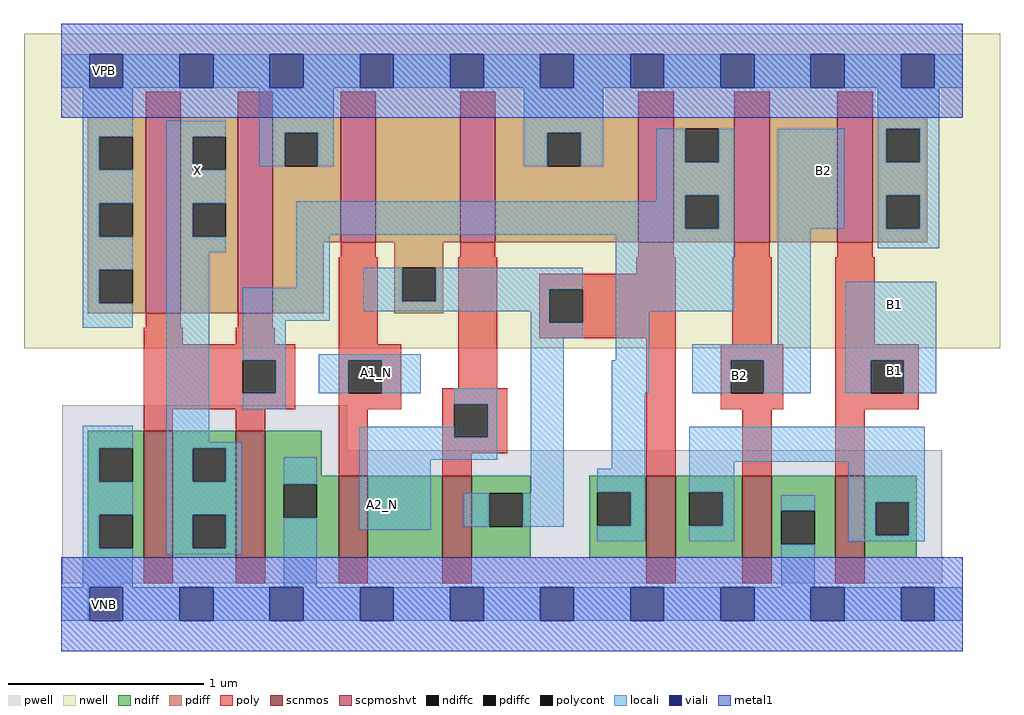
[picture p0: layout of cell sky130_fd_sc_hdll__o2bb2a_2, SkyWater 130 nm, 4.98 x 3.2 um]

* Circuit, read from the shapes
.subckt sky130_fd_sc_hdll__o2bb2a_2 A1_N A2_N B1 B2 VGND VNB VPB VPWR X
XM1 X n1 VGND VNB sky130_fd_pr__nfet_01v8 w=0.65 l=0.15 m=2
XM2 n2 A1_N VGND VNB sky130_fd_pr__nfet_01v8 w=0.42 l=0.15
XM3 n3 A2_N n2 VNB sky130_fd_pr__nfet_01v8 w=0.42 l=0.15
XM4 n4 n3 n1 VNB sky130_fd_pr__nfet_01v8 w=0.42 l=0.15
XM5 VGND B2 n4 VNB sky130_fd_pr__nfet_01v8 w=0.42 l=0.15
XM6 n4 B1 VGND VNB sky130_fd_pr__nfet_01v8 w=0.42 l=0.15
XM7 X n1 VPWR VPB sky130_fd_pr__pfet_01v8_hvt w=1 l=0.18 m=2
XM8 n3 A1_N VPWR VPB sky130_fd_pr__pfet_01v8_hvt w=0.64 l=0.18
XM9 VPWR A2_N n3 VPB sky130_fd_pr__pfet_01v8_hvt w=0.64 l=0.18
XM10 n1 n3 VPWR VPB sky130_fd_pr__pfet_01v8_hvt w=0.64 l=0.18
XM11 n5 B2 n1 VPB sky130_fd_pr__pfet_01v8_hvt w=0.64 l=0.18
XM12 VPWR B1 n5 VPB sky130_fd_pr__pfet_01v8_hvt w=0.64 l=0.18
.ends

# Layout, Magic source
magic
tech sky130A
magscale 1 2
<< nwell >>
rect -38 261 958 582
<< pwell >>
rect 1 157 292 203
rect 1 21 899 157
rect 27 -17 61 21
<< scnmos >>
rect 84 47 114 177
rect 178 47 208 177
rect 283 47 313 131
rect 389 47 419 131
rect 597 47 627 131
rect 695 47 725 131
rect 790 47 820 131
<< scpmoshvt >>
rect 86 297 122 497
rect 180 297 216 497
rect 285 369 321 497
rect 407 369 443 497
rect 589 369 625 497
rect 687 369 723 497
rect 792 369 828 497
<< ndiff >>
rect 27 159 84 177
rect 27 125 39 159
rect 73 125 84 159
rect 27 91 84 125
rect 27 57 39 91
rect 73 57 84 91
rect 27 47 84 57
rect 114 159 178 177
rect 114 125 134 159
rect 168 125 178 159
rect 114 91 178 125
rect 114 57 134 91
rect 168 57 178 91
rect 114 47 178 57
rect 208 131 266 177
rect 208 122 283 131
rect 208 88 227 122
rect 261 88 283 122
rect 208 47 283 88
rect 313 47 389 131
rect 419 113 479 131
rect 419 79 437 113
rect 471 79 479 113
rect 419 47 479 79
rect 539 114 597 131
rect 539 80 547 114
rect 581 80 597 114
rect 539 47 597 80
rect 627 114 695 131
rect 627 80 641 114
rect 675 80 695 114
rect 627 47 695 80
rect 725 95 790 131
rect 725 61 735 95
rect 769 61 790 95
rect 725 47 790 61
rect 820 104 873 131
rect 820 70 831 104
rect 865 70 873 104
rect 820 47 873 70
<< pdiff >>
rect 27 477 86 497
rect 27 443 39 477
rect 73 443 86 477
rect 27 409 86 443
rect 27 375 39 409
rect 73 375 86 409
rect 27 341 86 375
rect 27 307 39 341
rect 73 307 86 341
rect 27 297 86 307
rect 122 477 180 497
rect 122 443 134 477
rect 168 443 180 477
rect 122 409 180 443
rect 122 375 134 409
rect 168 375 180 409
rect 122 297 180 375
rect 216 481 285 497
rect 216 447 228 481
rect 262 447 285 481
rect 216 369 285 447
rect 321 369 407 497
rect 443 481 589 497
rect 443 447 496 481
rect 530 447 589 481
rect 443 369 589 447
rect 625 485 687 497
rect 625 451 637 485
rect 671 451 687 485
rect 625 417 687 451
rect 625 383 637 417
rect 671 383 687 417
rect 625 369 687 383
rect 723 369 792 497
rect 828 485 884 497
rect 828 451 842 485
rect 876 451 884 485
rect 828 417 884 451
rect 828 383 842 417
rect 876 383 884 417
rect 828 369 884 383
rect 216 297 268 369
rect 340 343 390 369
rect 340 309 348 343
rect 382 309 390 343
rect 340 297 390 309
<< ndiffc >>
rect 39 125 73 159
rect 39 57 73 91
rect 134 125 168 159
rect 134 57 168 91
rect 227 88 261 122
rect 437 79 471 113
rect 547 80 581 114
rect 641 80 675 114
rect 735 61 769 95
rect 831 70 865 104
<< pdiffc >>
rect 39 443 73 477
rect 39 375 73 409
rect 39 307 73 341
rect 134 443 168 477
rect 134 375 168 409
rect 228 447 262 481
rect 496 447 530 481
rect 637 451 671 485
rect 637 383 671 417
rect 842 451 876 485
rect 842 383 876 417
rect 348 309 382 343
<< poly >>
rect 86 497 122 523
rect 180 497 216 523
rect 285 497 321 523
rect 407 497 443 523
rect 589 497 625 523
rect 687 497 723 523
rect 792 497 828 523
rect 285 354 321 369
rect 86 282 122 297
rect 180 282 216 297
rect 84 265 124 282
rect 178 265 218 282
rect 283 265 323 354
rect 407 354 443 369
rect 589 354 625 369
rect 687 354 723 369
rect 792 354 828 369
rect 84 249 239 265
rect 84 215 185 249
rect 219 215 239 249
rect 84 199 239 215
rect 283 249 347 265
rect 283 215 293 249
rect 327 215 347 249
rect 405 220 445 354
rect 587 337 627 354
rect 488 321 627 337
rect 488 287 498 321
rect 532 287 627 321
rect 488 271 627 287
rect 283 199 347 215
rect 389 204 455 220
rect 84 177 114 199
rect 178 177 208 199
rect 283 131 313 199
rect 389 170 401 204
rect 435 170 455 204
rect 389 154 455 170
rect 389 131 419 154
rect 597 131 627 271
rect 685 265 725 354
rect 790 265 830 354
rect 673 249 737 265
rect 673 215 683 249
rect 717 215 737 249
rect 673 199 737 215
rect 790 249 875 265
rect 790 215 826 249
rect 860 215 875 249
rect 790 199 875 215
rect 695 131 725 199
rect 790 131 820 199
rect 84 21 114 47
rect 178 21 208 47
rect 283 21 313 47
rect 389 21 419 47
rect 597 21 627 47
rect 695 21 725 47
rect 790 21 820 47
<< polycont >>
rect 185 215 219 249
rect 293 215 327 249
rect 498 287 532 321
rect 401 170 435 204
rect 683 215 717 249
rect 826 215 860 249
<< locali >>
rect 0 527 29 561
rect 63 527 121 561
rect 155 527 213 561
rect 247 527 305 561
rect 339 527 397 561
rect 431 527 489 561
rect 523 527 581 561
rect 615 527 673 561
rect 707 527 765 561
rect 799 527 857 561
rect 891 527 920 561
rect 22 477 73 527
rect 22 443 39 477
rect 22 409 73 443
rect 22 375 39 409
rect 22 341 73 375
rect 22 307 39 341
rect 22 282 73 307
rect 107 477 168 493
rect 107 443 134 477
rect 202 481 278 527
rect 202 447 228 481
rect 262 447 278 481
rect 472 481 553 527
rect 833 485 896 527
rect 472 447 496 481
rect 530 447 553 481
rect 607 451 637 485
rect 671 451 687 485
rect 107 409 168 443
rect 607 417 687 451
rect 607 411 637 417
rect 107 375 134 409
rect 107 359 168 375
rect 240 383 637 411
rect 671 383 687 417
rect 240 377 687 383
rect 22 159 73 182
rect 22 125 39 159
rect 22 91 73 125
rect 22 57 39 91
rect 22 17 73 57
rect 107 165 151 359
rect 240 323 274 377
rect 185 289 274 323
rect 308 309 348 343
rect 382 321 532 343
rect 382 309 498 321
rect 308 299 498 309
rect 185 249 229 289
rect 479 287 498 299
rect 479 271 532 287
rect 566 299 687 377
rect 731 383 799 485
rect 833 451 842 485
rect 876 451 896 485
rect 833 417 896 451
rect 833 383 842 417
rect 876 383 896 417
rect 219 215 229 249
rect 263 249 367 255
rect 263 215 293 249
rect 327 215 367 249
rect 185 199 229 215
rect 401 204 445 220
rect 304 170 401 181
rect 435 170 445 204
rect 107 159 184 165
rect 107 125 134 159
rect 168 125 184 159
rect 107 91 184 125
rect 107 57 134 91
rect 168 57 184 91
rect 107 51 184 57
rect 227 122 261 150
rect 227 17 261 88
rect 304 147 445 170
rect 304 76 377 147
rect 479 113 513 271
rect 566 249 600 299
rect 731 265 765 383
rect 833 363 896 383
rect 562 215 600 249
rect 644 249 765 265
rect 644 215 683 249
rect 717 215 765 249
rect 800 249 893 329
rect 800 215 826 249
rect 860 215 893 249
rect 562 138 596 215
rect 411 79 437 113
rect 471 79 513 113
rect 547 114 596 138
rect 581 80 596 114
rect 547 64 596 80
rect 641 145 881 181
rect 641 114 687 145
rect 675 80 687 114
rect 641 64 687 80
rect 735 95 769 111
rect 803 104 881 145
rect 803 70 831 104
rect 865 70 881 104
rect 803 64 881 70
rect 735 17 769 61
rect 0 -17 29 17
rect 63 -17 121 17
rect 155 -17 213 17
rect 247 -17 305 17
rect 339 -17 397 17
rect 431 -17 489 17
rect 523 -17 581 17
rect 615 -17 673 17
rect 707 -17 765 17
rect 799 -17 857 17
rect 891 -17 920 17
<< viali >>
rect 29 527 63 561
rect 121 527 155 561
rect 213 527 247 561
rect 305 527 339 561
rect 397 527 431 561
rect 489 527 523 561
rect 581 527 615 561
rect 673 527 707 561
rect 765 527 799 561
rect 857 527 891 561
rect 29 -17 63 17
rect 121 -17 155 17
rect 213 -17 247 17
rect 305 -17 339 17
rect 397 -17 431 17
rect 489 -17 523 17
rect 581 -17 615 17
rect 673 -17 707 17
rect 765 -17 799 17
rect 857 -17 891 17
<< metal1 >>
rect 0 561 920 592
rect 0 527 29 561
rect 63 527 121 561
rect 155 527 213 561
rect 247 527 305 561
rect 339 527 397 561
rect 431 527 489 561
rect 523 527 581 561
rect 615 527 673 561
rect 707 527 765 561
rect 799 527 857 561
rect 891 527 920 561
rect 0 496 920 527
rect 0 17 920 48
rect 0 -17 29 17
rect 63 -17 121 17
rect 155 -17 213 17
rect 247 -17 305 17
rect 339 -17 397 17
rect 431 -17 489 17
rect 523 -17 581 17
rect 615 -17 673 17
rect 707 -17 765 17
rect 799 -17 857 17
rect 891 -17 920 17
rect 0 -48 920 -17
<< labels >>
flabel locali s 305 219 339 253 0 FreeSans 400 0 0 0 A1_N
port 1 nsew signal input
flabel locali s 122 425 156 459 0 FreeSans 400 0 0 0 X
port 9 nsew signal output
flabel locali s 311 85 345 119 0 FreeSans 400 0 0 0 A2_N
port 2 nsew signal input
flabel locali s 675 216 709 250 0 FreeSans 400 0 0 0 B2
port 4 nsew signal input
flabel locali s 833 221 867 255 0 FreeSans 400 0 0 0 B1
port 3 nsew signal input
flabel locali s 761 425 795 459 0 FreeSans 400 0 0 0 B2
port 4 nsew signal input
flabel locali s 833 289 867 323 0 FreeSans 400 0 0 0 B1
port 3 nsew signal input
flabel pwell s 27 -17 61 17 0 FreeSans 200 0 0 0 VNB
port 6 nsew ground bidirectional
flabel nwell s 27 527 61 561 0 FreeSans 200 0 0 0 VPB
port 7 nsew power bidirectional
flabel metal1 s 27 -17 61 17 0 FreeSans 200 0 0 0 VGND
port 5 nsew ground bidirectional
flabel metal1 s 27 527 61 561 0 FreeSans 200 0 0 0 VPWR
port 8 nsew power bidirectional
rlabel comment s 0 0 0 0 4 o2bb2a_2
<< properties >>
string LEFsite unithd
string LEFclass CORE
string FIXED_BBOX 0 0 920 544
string GDS_FILE $PDKPATH/libs.ref/sky130_fd_sc_hdll/gds/sky130_fd_sc_hdll.gds
string LEFsymmetry X Y R90
string GDS_END 2547724
string GDS_START 2540152
string LEFproperties maskLayoutSubType "abstract" prCellType "standard" originalViewName "layout"
<< end >>
